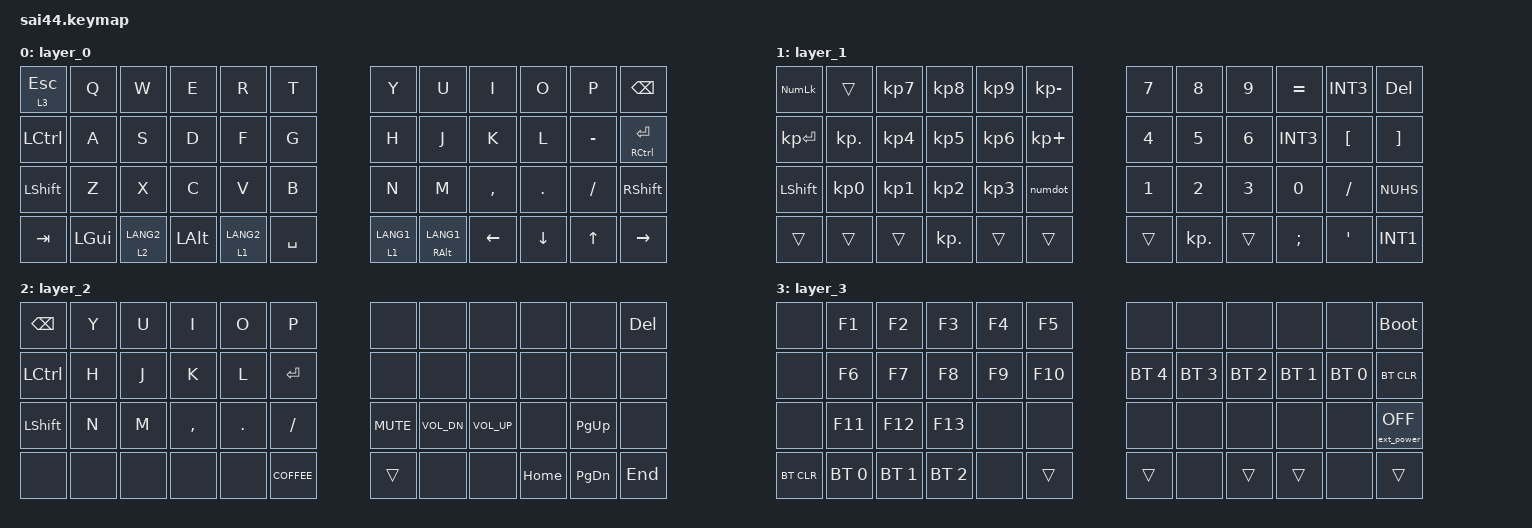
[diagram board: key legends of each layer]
/*
 * Copyright (c) 2020 The ZMK Contributors
 *
 * SPDX-License-Identifier: MIT
 */



#include <behaviors.dtsi>
#include <dt-bindings/zmk/bt.h>
#include <dt-bindings/zmk/ext_power.h>
#include <dt-bindings/zmk/keys.h>

#define DEF 0
#define LWR 1
#define RSE 2
#define ADJ 3

&lt { quick_tap_ms = <220>; };

&mt { quick_tap_ms = <220>; };

/ {
};

/ {
    keymap {
        compatible = "zmk,keymap";

        layer_0 {


            bindings = <
&lt 3 ESCAPE      &kp Q         &kp W        &kp E         &kp R        &kp T        &kp Y        &kp U               &kp I           &kp O           &kp P         &kp BACKSPACE
&kp LEFT_CONTROL  &kp A         &kp S        &kp D         &kp F        &kp G        &kp H        &kp J               &kp K           &kp L           &kp MINUS     &mt RIGHT_CONTROL RETURN
&kp LEFT_SHIFT    &kp Z         &kp X        &kp C         &kp V        &kp B        &kp N        &kp M               &kp COMMA       &kp DOT         &kp SLASH     &kp RIGHT_SHIFT
&kp TAB           &kp LEFT_GUI  &lt 2 LANG2  &kp LEFT_ALT  &lt 1 LANG2  &kp SPACE    &lt 1 LANG1  &mt RIGHT_ALT LANG1 &kp LEFT_ARROW  &kp DOWN        &kp UP        &kp RIGHT
            >;
        };

        layer_1 {
            bindings = <
&kp KP_NUMLOCK  &trans           &kp KP_NUMBER_7  &kp KP_NUMBER_8  &kp KP_NUMBER_9  &kp KP_MINUS    &kp N7  &kp N8      &kp N9  &kp EQUAL     &kp INT3    &kp DEL
&kp KP_ENTER    &kp KP_DOT       &kp KP_NUMBER_4  &kp KP_NUMBER_5  &kp KP_NUMBER_6  &kp KP_PLUS     &kp N4  &kp N5      &kp N6  &kp INT3      &kp LBKT    &kp RBKT
&kp LEFT_SHIFT  &kp KP_NUMBER_0  &kp KP_NUMBER_1  &kp KP_NUMBER_2  &kp KP_NUMBER_3  &numdot         &kp N1  &kp N2      &kp N3  &kp N0        &kp SLASH   &kp NUHS
&trans          &trans           &trans           &kp KP_DOT       &trans           &trans          &trans  &kp KP_DOT  &trans  &kp SEMI      &kp SQT     &kp INT1
            >;
        };

        layer_2 {
            bindings = <
&kp BSPC   &kp Y  &kp U  &kp I      &kp O    &kp P           &none       &none         &none         &none     &none      &kp DEL
&kp LCTRL  &kp H  &kp J  &kp K      &kp L    &kp RET         &none       &none         &none         &none     &none      &none
&kp LSHFT  &kp N  &kp M  &kp COMMA  &kp DOT  &kp FSLH        &kp C_MUTE  &kp C_VOL_DN  &kp C_VOL_UP  &none     &kp PG_UP  &none
&none      &none  &none  &none      &none    &kp K_COFFEE    &trans      &none         &none         &kp HOME  &kp PG_DN  &kp END
            >;
        };

        layer_3 {
            bindings = <
&none       &kp F1        &kp F2        &kp F3        &kp F4  &kp F5     &none         &none         &none         &none         &none         &bootloader
&none       &kp F6        &kp F7        &kp F8        &kp F9  &kp F10    &bt BT_SEL 4  &bt BT_SEL 3  &bt BT_SEL 2  &bt BT_SEL 1  &bt BT_SEL 0  &bt BT_CLR
&none       &kp F11       &kp F12       &kp F13       &none   &none      &none         &none         &none         &none         &none         &ext_power EP_OFF
&bt BT_CLR  &bt BT_SEL 0  &bt BT_SEL 1  &bt BT_SEL 2  &none   &trans     &trans        &none         &trans        &trans        &none         &trans
            >;
        };
    };
};
